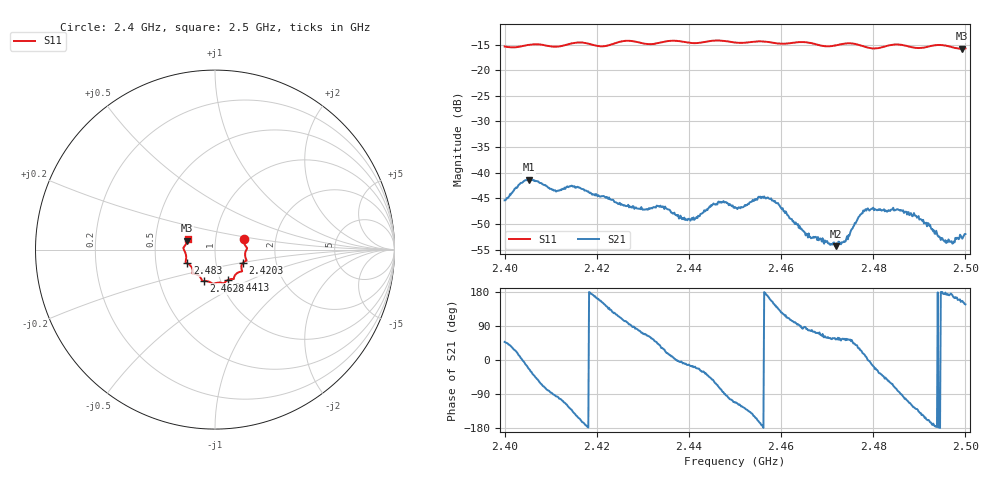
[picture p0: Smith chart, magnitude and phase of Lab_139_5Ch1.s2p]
# Hz S RI R 50
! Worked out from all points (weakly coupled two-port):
!   601 points, 2.4 GHz to 2.5 GHz, reference 50 ohm
!   highest |S21| = -41.36 dB at 2.4053 GHz (marker M1); lowest = -54.3 dB at 2.4718 GHz (marker M2)
!   lowest |S11| = -15.8 dB at 2.4993 GHz (marker M3), VSWR 1.39, Z = 36.5 + j3.71 ohm
!   |S11| at or under -10 dB: start of sweep to end of sweep
!   S12 and S22 are empty: the file has one direction only
!   S11 on the Smith chart (normalised r, x): 2.4 GHz: 1.37, +0.16; 2.4203 GHz: 1.35, -0.21; 2.4413 GHz: 1.09, -0.38; 2.4628 GHz: 0.83, -0.30; 2.483 GHz: 0.72, -0.11; 2.5 GHz: 0.73, +0.09
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2.4e9  0.1604 0.0569  0.00362 0.00398  0 0  0 0
2.405333e9  0.1767 0.0119  0.00779 -0.00353  0 0  0 0
2.411167e9  0.168 -0.0228  -0.000674 -0.00651  0 0  0 0
2.416667e9  0.176 -0.0614  -0.00657 -0.00232  0 0  0 0
2.420333e9  0.1552 -0.0739  -0.00572 0.00192  0 0  0 0
2.428667e9  0.1438 -0.1225  0.00063 0.00443  0 0  0 0
2.433333e9  0.108 -0.1484  0.00348 0.00322  0 0  0 0
2.441333e9  0.0742 -0.168  0.00338 -0.00106  0 0  0 0
2.446833e9  0.0479 -0.1884  0.00121 -0.00506  0 0  0 0
2.45e9  0.0295 -0.1838  -0.00177 -0.00428  0 0  0 0
2.457333e9  -0.0185 -0.1872  -0.00543 0.00142  0 0  0 0
2.462833e9  -0.063 -0.1748  -0.000519 0.00323  0 0  0 0
2.466667e9  -0.0744 -0.1676  0.000439 0.00227  0 0  0 0
2.471833e9  -0.1097 -0.1356  0.00112 0.00156  0 0  0 0
2.474e9  -0.123 -0.1343  0.00131 0.0017  0 0  0 0
2.478333e9  -0.125 -0.113  0.00434 0.000711  0 0  0 0
2.483e9  -0.1547 -0.0766  0.00261 -0.00325  0 0  0 0
2.483333e9  -0.157 -0.0755  0.00249 -0.00352  0 0  0 0
2.489333e9  -0.1607 -0.0371  -0.0024 -0.00293  0 0  0 0
2.495667e9  -0.1735 0.0141  -0.00219 7.83e-05  0 0  0 0
2.499333e9  -0.1542 0.0495  -0.00208 0.000929  0 0  0 0
2.5e9  -0.1525 0.0585  -0.00211 0.00138  0 0  0 0
